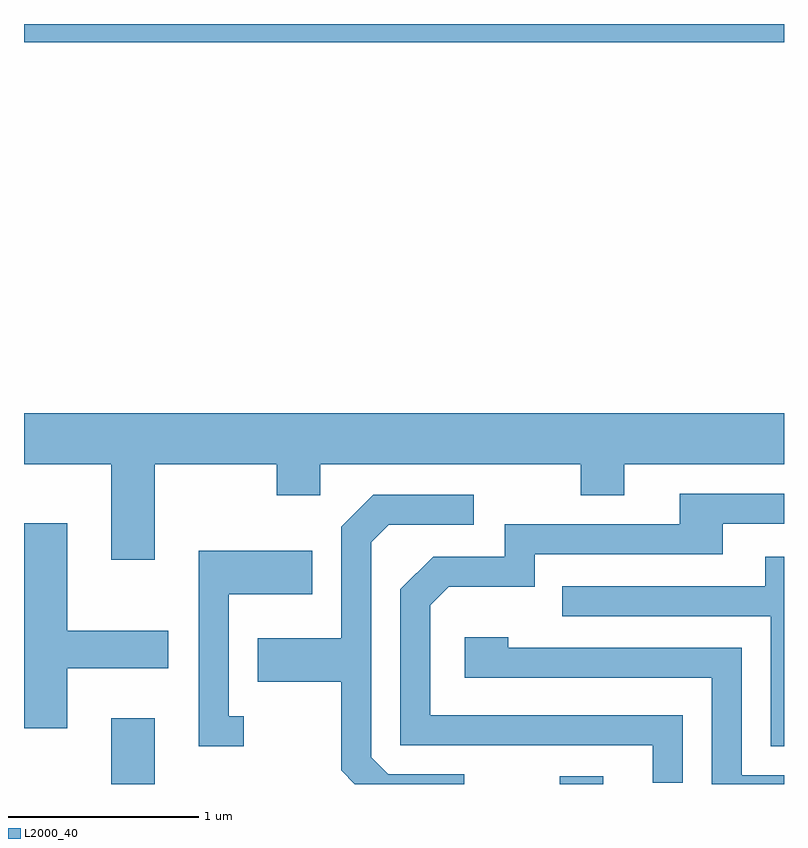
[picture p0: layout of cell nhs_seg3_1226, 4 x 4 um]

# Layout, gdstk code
import gdstk
lib = gdstk.Library(unit=1e-6, precision=1e-09)
def R(c, l, rs):  # rectangles x0, y0, x1, y1
    for r in rs: c.add(gdstk.rectangle(r[:2], r[2:], *l))
def P(c, l, *ps):  # polygons
    for p in ps: c.add(gdstk.Polygon(p, *l))
L2000_40 = (2000, 40)

nhs_seg3_1226 = lib.new_cell('nhs_seg3_1226')
R(nhs_seg3_1226, L2000_40, [(222.071,1119.892,222.299,1120.239), (224.431,1119.892,224.659,1119.934), (221.611,1123.796,225.611,1123.892)])
P(nhs_seg3_1226, L2000_40, [(222.299,1121.576),(222.941,1121.576),(222.941,1121.411),(223.169,1121.411),(223.169,1121.576),(224.541,1121.576),(224.541,1121.411),(224.769,1121.411),(224.769,1121.576),(225.611,1121.576),(225.611,1121.844),(221.611,1121.844),(221.611,1121.576),(222.071,1121.576),(222.071,1121.071),(222.299,1121.071)],
  [(225.079,1120.254),(223.749,1120.254),(223.749,1120.834),(223.847,1120.931),(224.299,1120.931),(224.299,1121.101),(225.289,1121.101),(225.289,1121.261),(225.611,1121.261),(225.611,1121.419),(225.061,1121.419),(225.061,1121.259),(224.141,1121.259),(224.141,1121.089),(223.764,1121.089),(223.591,1120.917),(223.591,1120.096),(224.921,1120.096),(224.921,1119.898),(225.079,1119.898)],
  [(223.928,1119.944),(223.527,1119.944),(223.439,1120.032),(223.439,1121.164),(223.532,1121.256),(223.978,1121.256),(223.978,1121.414),(223.449,1121.414),(223.281,1121.247),(223.281,1120.659),(222.841,1120.659),(222.841,1120.431),(223.281,1120.431),(223.281,1119.964),(223.353,1119.892),(223.928,1119.892)],
  [(221.839,1120.501),(222.369,1120.501),(222.369,1120.699),(221.839,1120.699),(221.839,1121.264),(221.611,1121.264),(221.611,1120.186),(221.839,1120.186)],
  [(222.768,1120.249),(222.689,1120.249),(222.689,1120.891),(223.129,1120.891),(223.129,1121.119),(222.531,1121.119),(222.531,1120.091),(222.768,1120.091)],
  [(225.611,1121.089),(225.511,1121.089),(225.511,1120.934),(224.443,1120.934),(224.443,1120.776),(225.541,1120.776),(225.541,1120.091),(225.611,1120.091)],
  [(225.611,1119.939),(225.389,1119.939),(225.389,1120.609),(224.159,1120.609),(224.159,1120.664),(223.931,1120.664),(223.931,1120.451),(225.231,1120.451),(225.231,1119.892),(225.611,1119.892)])

lib.write_gds('nhs_seg3_1226.gds')
